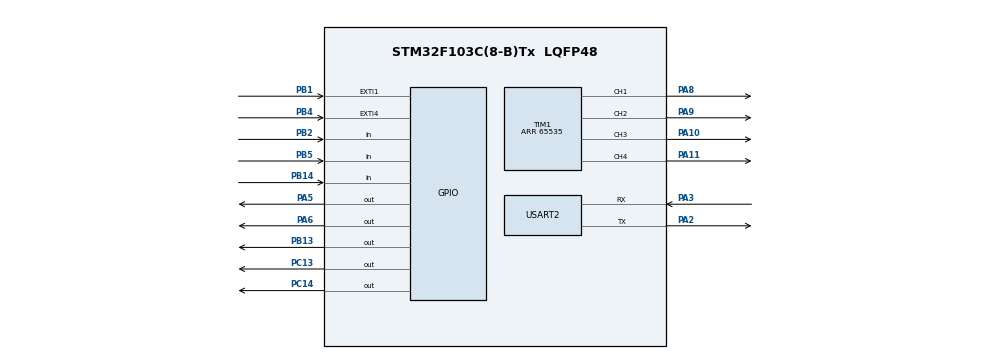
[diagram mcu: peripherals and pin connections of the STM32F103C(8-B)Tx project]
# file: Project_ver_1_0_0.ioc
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Mcu.Family=STM32F1
Mcu.Name=STM32F103C(8-B)Tx
Mcu.Package=LQFP48
NVIC.EXTI1_IRQn=true\:0\:0\:false\:false\:true\:true
NVIC.EXTI4_IRQn=true\:0\:0\:true\:false\:true\:true
NVIC.PriorityGroup=NVIC_PRIORITYGROUP_4
NVIC.USART2_IRQn=true\:0\:0\:false\:false\:true\:true
PA10.Signal=S_TIM1_CH3
PA11.Signal=S_TIM1_CH4
PA13.Mode=Serial_Wire
PA13.Signal=SYS_JTMS-SWDIO
PA14.Mode=Serial_Wire
PA14.Signal=SYS_JTCK-SWCLK
PA2.Mode=Asynchronous
PA2.Signal=USART2_TX
PA3.Mode=Asynchronous
PA3.Signal=USART2_RX
PA5.Signal=GPIO_Output
PA6.GPIO_PuPd=GPIO_PULLDOWN
PA6.Signal=GPIO_Output
PA8.Signal=S_TIM1_CH1
PA9.Signal=S_TIM1_CH2
PB1.GPIO_ModeDefaultEXTI=GPIO_MODE_IT_RISING
PB1.Signal=GPXTI1
PB13.Signal=GPIO_Output
PB14.Signal=GPIO_Input
PB2.Signal=GPIO_Input
PB4.GPIO_ModeDefaultEXTI=GPIO_MODE_IT_RISING
PB4.GPIO_PuPd=GPIO_NOPULL
PB4.Signal=GPXTI4
PB5.Signal=GPIO_Input
PC13-TAMPER-RTC.Signal=GPIO_Output
PC14-OSC32_IN.Signal=GPIO_Output
ProjectManager.HeapSize=0x200
ProjectManager.StackSize=0x400
ProjectManager.TargetToolchain=MDK-ARM V5
RCC.APB1Freq_Value=8000000
RCC.APB2Freq_Value=8000000
SH.S_TIM1_CH1.0=TIM1_CH1,PWM Generation1 CH1
SH.S_TIM1_CH2.0=TIM1_CH2,PWM Generation2 CH2
SH.S_TIM1_CH3.0=TIM1_CH3,PWM Generation3 CH3
SH.S_TIM1_CH4.0=TIM1_CH4,PWM Generation4 CH4
TIM1.Channel-PWM\ Generation1\ CH1=TIM_CHANNEL_1
TIM1.Channel-PWM\ Generation2\ CH2=TIM_CHANNEL_2
TIM1.Channel-PWM\ Generation3\ CH3=TIM_CHANNEL_3
TIM1.Channel-PWM\ Generation4\ CH4=TIM_CHANNEL_4
TIM1.OCMode_PWM-PWM\ Generation3\ CH3=TIM_OCMODE_PWM1
TIM1.OCPolarity_1=TIM_OCPOLARITY_LOW
TIM1.OCPolarity_2=TIM_OCPOLARITY_LOW
TIM1.OCPolarity_3=TIM_OCPOLARITY_LOW
TIM1.OCPolarity_4=TIM_OCPOLARITY_LOW
TIM1.Period=65535
TIM1.Pulse-PWM\ Generation1\ CH1=7999
TIM1.Pulse-PWM\ Generation2\ CH2=7999
TIM1.Pulse-PWM\ Generation3\ CH3=7999
TIM1.Pulse-PWM\ Generation4\ CH4=7999
USART2.VirtualMode=VM_ASYNC
VP_TIM1_VS_ClockSourceINT.Mode=Internal
board=custom

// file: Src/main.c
/* USER CODE BEGIN Header */
/**
  ******************************************************************************
  * @file           : main.c
  * @brief          : Main program body
  ******************************************************************************
  * This notice applies to any and all portions of this file
  * that are not between comment pairs USER CODE BEGIN and
  * USER CODE END. Other portions of this file, whether
  * inserted by the user or by software development tools
  * are owned by their respective copyright owners.
  *
  * Copyright (c) 2019 STMicroelectronics International N.V.
  * All rights reserved.
  *
  * Redistribution and use in source and binary forms, with or without
  * modification, are permitted, provided that the following conditions are met:
  *
  * 1. Redistribution of source code must retain the above copyright notice,
  *    this list of conditions and the following disclaimer.
  * 2. Redistributions in binary form must reproduce the above copyright notice,
  *    this list of conditions and the following disclaimer in the documentation
  *    and/or other materials provided with the distribution.
  * 3. Neither the name of STMicroelectronics nor the names of other
  *    contributors to this software may be used to endorse or promote products
  *    derived from this software without specific written permission.
  * 4. This software, including modifications and/or derivative works of this
  *    software, must execute solely and exclusively on microcontroller or
  *    microprocessor devices manufactured by or for STMicroelectronics.
  * 5. Redistribution and use of this software other than as permitted under
  *    this license is void and will automatically terminate your rights under
  *    this license.
  *
  * THIS SOFTWARE IS PROVIDED BY STMICROELECTRONICS AND CONTRIBUTORS "AS IS"
  * AND ANY EXPRESS, IMPLIED OR STATUTORY WARRANTIES, INCLUDING, BUT NOT
  * LIMITED TO, THE IMPLIED WARRANTIES OF MERCHANTABILITY, FITNESS FOR A
  * PARTICULAR PURPOSE AND NON-INFRINGEMENT OF THIRD PARTY INTELLECTUAL PROPERTY
  * RIGHTS ARE DISCLAIMED TO THE FULLEST EXTENT PERMITTED BY LAW. IN NO EVENT
  * SHALL STMICROELECTRONICS OR CONTRIBUTORS BE LIABLE FOR ANY DIRECT, INDIRECT,
  * INCIDENTAL, SPECIAL, EXEMPLARY, OR CONSEQUENTIAL DAMAGES (INCLUDING, BUT NOT
  * LIMITED TO, PROCUREMENT OF SUBSTITUTE GOODS OR SERVICES; LOSS OF USE, DATA,
  * OR PROFITS; OR BUSINESS INTERRUPTION) HOWEVER CAUSED AND ON ANY THEORY OF
  * LIABILITY, WHETHER IN CONTRACT, STRICT LIABILITY, OR TORT (INCLUDING
  * NEGLIGENCE OR OTHERWISE) ARISING IN ANY WAY OUT OF THE USE OF THIS SOFTWARE,
  * EVEN IF ADVISED OF THE POSSIBILITY OF SUCH DAMAGE.
  *
  ******************************************************************************
  */
/* USER CODE END Header */

#include "main.h"

/* USER CODE BEGIN Includes */
#include "string.h"
#include <math.h>
#include "stdio.h"
#include <stdlib.h>
//#include "ros.h"
/* USER CODE END Includes */

TIM_HandleTypeDef htim1;

UART_HandleTypeDef huart2;

void SystemClock_Config(void);
static void MX_GPIO_Init(void);
static void MX_TIM1_Init(void);
static void MX_USART2_UART_Init(void);

/* USER CODE BEGIN 0 */
//FIFO Buffer
#define ARRAY_SIZE 11
#define BUFFER_SIZE ARRAY_SIZE-1

float gBuffer[ARRAY_SIZE]; //Buffer has a size of 99
uint8_t pBufferWrite = 1;
uint8_t pBufferRead = 0;

void FIFOBufferWrite(float pDataIn)
{
    if(pBufferWrite == pBufferRead)
    {
        // Buffer is full, do nothing or return error message.
    }
    else
    {
        // Write and increase pBufferWrite
        gBuffer[pBufferWrite] = pDataIn;
        if (pBufferWrite < BUFFER_SIZE)
        {
            pBufferWrite++;
        }
        else
        {
            pBufferWrite = 0;
        }
    }
}

float FIFOBufferRead(void)
{
    float dataOut = 0x00;
    uint8_t tempBufferRead = pBufferRead + 1;
    if(tempBufferRead == pBufferWrite)
    {
        // Buffer is empty, do nothing or return error message.
			//dataOut = 100000;
    }
    else
    {
        // Increase pBufferRead and read data from buffer
        if (pBufferRead < BUFFER_SIZE)
        {
            pBufferRead++;
        }
        else
        {
            pBufferRead = 0;
        }
        dataOut = gBuffer[pBufferRead];
    }
    return dataOut;
}
/* Communication define*/
// Start of text bit: "("
unsigned char stx = 40;
unsigned char *add_stx = &stx;
// End of text bit: ")"
unsigned char etx = 41;
unsigned char *add_etx = &etx;
// Start of Header bit: "<"
unsigned char sth = 60;
unsigned char *add_sth = &sth;
// End of Transmission bit: ">"
unsigned char eot = 62;
unsigned char *add_eot = &eot;

/*Convert function*/
/* 2 digits after comma*/
// Another variable
float data;
char sign;
int lenostr;
// This function help to encode data to sent through uart
void SendData(float r_data)
{
	unsigned char str_float[7];
	if (r_data < 0) {sign = 1;}
	if (r_data >= 0) {sign = 0;}
	data = fabs(r_data);
	// Get the length of data
	if (data < 10)
	{
		lenostr = 5;
		if (sign == 1){str_float[0] = 45;} // - ascii code
		if (sign == 0){str_float[0] = 43;} // + ascii code
		str_float[1] = (int)data%10; // left comma digit
		str_float[2] = 46; // Comma ASCII code
		str_float[3] = ((data - str_float[1])*100)/10; // first digit after comma
		str_float[4] = (int)((data - str_float[1])*100)%10; // second digit after comma
		}
	if (data < 100 && data >=10)
	{
		lenostr = 6;
		if (sign == 1){str_float[0] = 45;} // - ascii code
		if (sign == 0){str_float[0] = 43;} // + ascii code
		str_float[1] = data/10; // second digit before comma
		str_float[2] = (int)(data)%10; // first digit before comma
		str_float[3] = 46; // Comma ASCII code
		str_float[4] = ((data - str_float[1]*10 - str_float[2])*100)/10; // first digit after comma
		str_float[5] = (int)((data - str_float[1]*10 - str_float[2])*100)%10; // second digit after comma
	}
	if (data < 1000 && data >= 100)
	{
		lenostr = 7;
		if (sign == 1){str_float[0] = 45;} // - ascii code
		if (sign == 0){str_float[0] = 43;} // + ascii code
		str_float[1] = data/100; // third digit before comma
		str_float[2] = ((data-str_float[1])/100)/10; // second digit before comma
		str_float[3] = ((int)(data-str_float[1])/100)%10; // first digit before comma
		str_float[4] = 46; // Comma ASCII code
		str_float[5] = ((data - str_float[1]*100 - str_float[2]*10 - str_float[3])*100)/10; // first digit after comma
		str_float[6] = (int)((data - str_float[1]*100 - str_float[2]*10 - str_float[3])*100)%10; // second digit after comma
	}

	// Start Communication
	// Send Start of text code
	//HAL_UART_Transmit(&huart2,add_sth,1,1000);
	HAL_UART_Transmit(&huart2,add_stx,1,1000);
	// Send data
	for (int i = 0; i<lenostr;i++)
	{
		if (str_float[i]!=43 && str_float[i]!=45 && str_float[i]!=46)
		{
			unsigned char temppp;
			temppp = str_float[i] + 48;
			unsigned char *add = &temppp;
			HAL_UART_Transmit(&huart2,add,1,1000);
			HAL_Delay(1);
		}
		else
		{
			unsigned char *add = &str_float[i];
			HAL_UART_Transmit(&huart2,add,1,1000);
			HAL_Delay(1);
		}
	}
	// Send End of text code
	HAL_UART_Transmit(&huart2,add_etx,1,1000);
	//HAL_UART_Transmit(&huart2,add_eot,1,1000);
}
#define NUM_DIGITS_AFTER_COMMA 2
// This function will return number of digits (include comma and sign)
void SendAGift(float data)
{
	unsigned char str_float[10];
	// Get sign of data
	if (data < 0) {str_float[0] = 45;}
	if (data >= 0) {str_float[0] = 43;}
	data = fabs(data);
	// Get number of digits in data
	int left_comma_digits,num_of_digits;
	float tmp_dt;
	int count=1,n;
	tmp_dt = data;
	while(tmp_dt >=1)
	{
		tmp_dt = tmp_dt/10;
		left_comma_digits++;
	}
	num_of_digits = left_comma_digits + 2 + NUM_DIGITS_AFTER_COMMA; // 2 include sign and comma
	n = left_comma_digits;
	while(n > 0)
	{
		str_float[count] = data/(10^(n-1));
		data = data - ((int)(data/(10^(n-1))))*(10^(n-1));
		count++;
		n = n - 1;
	}
	str_float[left_comma_digits+1] = 46; // Comma ASCII code
	str_float[left_comma_digits+2] = (data*100)/10; // first digit after comma
	str_float[left_comma_digits+3] = (int)(data*100)%10; // second digit after comma

	HAL_UART_Transmit(&huart2,add_stx,1,1000);
	// Send data
	for (int i = 0; i<num_of_digits;i++)
	{
		if (str_float[i]!=43 && str_float[i]!=45 && str_float[i]!=46)
		{
			unsigned char temppp;
			temppp = str_float[i] + 48;
			unsigned char *add = &temppp;
			HAL_UART_Transmit(&huart2,add,1,1000);
			HAL_Delay(1);
		}
		else
		{
			unsigned char *add = &str_float[i];
			HAL_UART_Transmit(&huart2,add,1,1000);
			HAL_Delay(1);
		}
	}
	// Send End of text code
	HAL_UART_Transmit(&huart2,add_etx,1,1000);
}
// End of sent function
// Receive function
#define NUMBER_OF_DIGITS_RECEIVE 8 //2 digits after comma
float rec_num;
uint8_t WAIT_TIME = 10;
uint8_t ready_flag = 72;
uint8_t *add_ready = &ready_flag;
uint8_t done_flag = 80;
uint8_t *add_done = &done_flag;
uint8_t confirm_flag = 86;
uint8_t *add_confirm = &confirm_flag;
uint8_t end_transmission_flag = 83;
HAL_StatusTypeDef DoneStatus;
void ReceiveAGift()
{
	rec_num = 0;
	// Feedback to Jetson: Ready to receive the next
	HAL_UART_Transmit(&huart2,add_ready,1,100);
	HAL_Delay(10);
	uint8_t tmp_float[NUMBER_OF_DIGITS_RECEIVE];
	for (int k = -1; k<NUMBER_OF_DIGITS_RECEIVE;k++)
	{
		uint8_t tmp_num[1];
		HAL_UART_Receive(&huart2,tmp_num,1,100);
		if(k>=0)
		{
		tmp_float[k] = tmp_num[0];
		}
		//DoneStatus = HAL_UART_Transmit(&huart2,add_done,1,100);
		HAL_UART_Transmit(&huart2,add_done,1,100);

	}
	for (int i = 1; i < (NUMBER_OF_DIGITS_RECEIVE-2);i++)
	{
		rec_num += (tmp_float[i]-48)*pow(10,(5-i));
	}
	rec_num = rec_num + (tmp_float[NUMBER_OF_DIGITS_RECEIVE-2]-48)*0.1 + (tmp_float[NUMBER_OF_DIGITS_RECEIVE-1]-48)*0.01;
	if (tmp_float[0] == 45)
	{rec_num = -rec_num;}
	else
	{rec_num = rec_num;}
	//if(fabs(rec_num) < 1000)
	//{
	HAL_UART_RxCpltCallback(&huart2);
	FIFOBufferWrite(rec_num);
	//}
}
// End of receive function
int loop_times = 0;
uint32_t check;
uint8_t flaggg;
void Communication()
{
	//while(etf[0] != end_transmission_flag)
	for (int kj = 0;kj < WAIT_TIME;kj++)
	{
		ReceiveAGift();
		//HAL_UART_Receive(&huart2,etf,1,100);
		//HAL_Delay(100);
	}
	HAL_Delay(100);
	uint8_t eot[1];
	HAL_UART_Receive(&huart2,eot,1,100);

	check = (huart2.Instance->DR);
	//loop_times = (int)sizeof(gBuffer)/sizeof(gBuffer[0])/2;
	loop_times = 5;
	if (check == 48)
	{
		flaggg = 1;
	}
	else
	{
		flaggg = 0;
	}
	HAL_Delay(100);
}
// Start mortor control function
#define CW 0	// Back
#define CCW 1 // Go ahead
int pwm_0,pwm_1;
void DodoGo(uint8_t direct,int pwm_0,int pwm_1)
{
		if (direct == 0)
		{
			TIM1->CCR2 = pwm_0;
			TIM1->CCR1 = 0;
			TIM1->CCR3 = 0;
			TIM1->CCR4 = pwm_1;
		}
		if (direct == 1)
		{
			TIM1->CCR1 = pwm_0;
			TIM1->CCR2 = 0;
			TIM1->CCR4 = 0;
			TIM1->CCR3 = pwm_1;
		}
		if (direct == 2)
		{
			TIM1->CCR2 = 0;
			TIM1->CCR1 = 0;
			TIM1->CCR3 = 0;
			TIM1->CCR4 = 0;
		}

}
int sign_0,sign_1;
void MotorGo(int pwm_0, int pwm_1)
{
	if (pwm_0>0)
	{
		TIM1->CCR1 = pwm_0;
		TIM1->CCR2 = 0;
	}
	if (pwm_1>0)
	{
		TIM1->CCR4 = 0;
		TIM1->CCR3 = pwm_1;
	}
	if (pwm_0<0)
	{
		TIM1->CCR2 = -pwm_0;
		TIM1->CCR1 = 0;
	}
	if (pwm_1<0)
	{
		TIM1->CCR3 = 0;
		TIM1->CCR4 = -pwm_1;
	}
	if (pwm_0==0)
	{
		TIM1->CCR1 = 0;
		TIM1->CCR2 = 0;
	}
	if (pwm_1==0)
	{
		TIM1->CCR4 = 0;
		TIM1->CCR3 = 0;
	}

}
/*End of motor control functions
-
-
*/

/* Get data from MPU6050, filter with kalman and send them to Pi*/
/*
Angular Velocity Limit  |   Sensitivity
----------------------------------------
250�/s                  |    131
500�/s                  |    65.5
1000�/s                 |    32.8
2000�/s                 |    16.4

Acceleration Limit  |   Sensitivity
----------------------------------------
2g                  |    16,384
4g                  |    8,192
8g                  |    4,096
16g                 |    2,048

	*/
float vel_x, vel_y, pos_x = 0, pos_y = 0, vel_z, pos_z, omega_z,ang_z;
/* Get position from encoder data*/
#define REDUCTION_RATIO 78
#define AUTO_RELOAD_COUNTER 65535
#define UNIT_OF_MEA 1 // Default is meter, new unit is m*UNIT_OF_MEA
int pre_count_0 = 0, pre_count_1 = 0;
float delta_count_0, delta_count_1;
float D_0,D_1,D_c,delta_phi;
float en_pos_x, en_pos_y,phi=0, pre_en_pos_x, pre_en_pos_y;
volatile int count_0,count_1;
//float test;
void Encoder_data_processing()
{
	const int N = 26; // Encoder resolution
	const float pi = 3.14159;
	const float R = 0.025*UNIT_OF_MEA;
	//const float L = 0.15;
	// Read both encoder data
	//count_0 = __HAL_TIM_GET_COUNTER(&htim4);
	//count_1 = __HAL_TIM_GET_COUNTER(&htim3);
	//count_1 = getEncoder_1();
	//count_0 = getEncoder_0();
	// This Variable below was invert due to the config is CCW - Go ahead, CW - Go back
	delta_count_0 = (count_0 - pre_count_0);
	delta_count_1 = (count_1 - pre_count_1);
	if (pre_count_0 > 10*count_0 && count_0 != 0)
	{
		delta_count_0 = (count_0 - pre_count_0 + AUTO_RELOAD_COUNTER);
	}
	if (pre_count_1 > 10*count_1 && count_1 != 0)
	{
		delta_count_1 = (count_1 - pre_count_1 + AUTO_RELOAD_COUNTER);
	}
	if (pre_count_0*10 < count_0 && pre_count_0 != 0)
	{
		delta_count_0 = (-(count_0 - pre_count_0 + AUTO_RELOAD_COUNTER));
	}
	if (pre_count_1*10 < count_1 && pre_count_1 != 0)
	{
		delta_count_1 = (-(count_1 - pre_count_1 + AUTO_RELOAD_COUNTER));
	}
	if (pre_count_1 == 0 && count_1 > 40000)
	{
		delta_count_1 = (count_1 - AUTO_RELOAD_COUNTER);
	}
	if (pre_count_0 == 0 && count_0 > 40000)
	{
		delta_count_0 = (count_0 - AUTO_RELOAD_COUNTER);
	}
	if (pre_count_0 > 40000 && count_0 == 0)
	{
		delta_count_0 = (- pre_count_0 + AUTO_RELOAD_COUNTER);
	}
	if (pre_count_1 > 40000 && count_1 == 0)
	{
		delta_count_1 = (- pre_count_1 + AUTO_RELOAD_COUNTER);
	}
	if (fabs(delta_count_0)>10000)
	{
		delta_count_0 = 2*(delta_count_0/fabs(delta_count_0));
	}
	if (fabs(delta_count_1)>10000)
	{
		delta_count_1 = 2*(delta_count_1/fabs(delta_count_1));
	}
	//phi += atan2((en_pos_y-pre_en_pos_y),(en_pos_x-pre_en_pos_x));
	D_0 = (2*pi*delta_count_0*R)/(N*REDUCTION_RATIO);
	D_1 = (2*pi*delta_count_1*R)/(N*REDUCTION_RATIO);
	D_c = (D_0+D_1)/2;
	phi+= (D_1-D_0)/2;
	//delta_phi = (D_1-D_0)/2;
	// Update postion
	pre_count_0 = count_0;
	pre_count_1 = count_1;
	//pre_en_pos_x = en_pos_x;
	//pre_en_pos_y = en_pos_y;
	//if (fabs(D_c*cos(phi)) > 0.002)
	en_pos_x = en_pos_x + D_c*cos(phi);
	//if (fabs(D_c*sin(phi)) > 0.002)
	en_pos_y = en_pos_y + D_c*sin(phi);
	//if (D_c*cos(phi) > 0.002) en_pos_x = en_pos_x + D_c*cos(phi);
	//if (D_c*sin(phi) > 0.002) en_pos_y = en_pos_y + D_c*sin(phi);
	//test = D_c*cos(phi);
	//HAL_Delay(100);
}
/*Check goal function:
	This function is used to check the robot position which
	will be compared with goal point.
	If that is a acceptable position, this function will return GOAL_STATUS
	0: OK
	1: Not OK*/
uint8_t GOAL_STATUS = 1;
float tmp_xgoal;
void CheckGoal(float pos_x, float pos_y, float x_goal, float y_goal)
{
	//tmp_xgoal = x_goal;
	//if((fabs(roundf(-pos_x*10)/10) != fabs(x_goal)) || (fabs(roundf(-pos_y*10)/10) != fabs(y_goal)))
	//if(((fabs(roundf(-pos_x*100)/100) != x_goal)) || ((fabs(roundf(-pos_y*100)/100)) != y_goal))
	if((fabs(roundf(-pos_x*100)/100) < fabs(x_goal)))
	{
		GOAL_STATUS = 0;
	}
	else
	{
		GOAL_STATUS = 1;
	}
	if(((fabs(roundf(x_goal*100)/100) == 0)) && ((fabs(roundf(y_goal*100)/100)) == 0)) GOAL_STATUS = 1;
}
/* PID Algorithm */
//float Kp=259169.1404, Ki=2805927.6279 , Kd=549.8702;
//float Kp=3.255, Ki=9.665 , Kd=0.216;
#define LEFT_WHEEL 0
#define RIGHT_WHEEL 1
float Kp, Ki, Kd;
float Kpl = 195.5258, Kil = 393.2754, Kdl = 21.87;
float Kpr = 234.1664, Kir = 475.3947, Kdr = 25.7305;
float P,I,D;
float output;
float pre_error;
float PID_Cal(float error, int whell)
{
	if (whell == 0)
	{
	Kp = Kpl; Ki = Kil; Kd = Kdl;
	}
	else
	{
	Kp = Kpr; Ki = Kir; Kd = Kdr;
	}
	P = Kp * error;
	I += Ki * error;
	D = Kd * (error - pre_error);
	output = P + I + D;
	pre_error = error;
	return output;
}
// Rotate function, + : turn left, -: turn right
#define ROT_SPEED 40000
int ROT_DONE;
int rot_direction;
float pr_gphi,pr_phi;
void rotate(float g_phi)
{
	//float tmp = fabs(phi);
	//const int N = 26; // Encoder resolution
	const float pi = 3.14159;
	//const float R = 0.025;
	//const float L = 0.175;
	//if (g_phi <0) g_phi = fabs(g_phi) + pi;
	if(g_phi < 0)
	{
		rot_direction = -1;
		//rot_direction = 1;
	}
	else
	{
		rot_direction = 1;
	}
	if(g_phi == 0)
	{
		ROT_DONE = 1;
	}
	else
	{
		ROT_DONE = 0;
	}
	//pr_phi = phi;
	//phi = phi - pr_gphi;
	//phi = 0;
	delta_phi = 0;
	D_1 = 0;
	D_0 = 0;
	while(ROT_DONE != 1)
	{
		if (fabs(delta_phi) < fabs(g_phi))
			{
				MotorGo(rot_direction*ROT_SPEED,-rot_direction*ROT_SPEED*1.174964);
				Encoder_data_processing();
				delta_phi += (D_1-D_0)/2;
				//HAL_Delay(100);
		}
		else
		{
			MotorGo(0,0);
			ROT_DONE = 1;
			phi = g_phi;
			//pr_gphi = g_phi;
			if(phi >= pi)
			{
				phi = phi - 2*pi;
			}
			if(phi<-pi)
			{
				phi = phi + 2*pi;
			}
		}
	}
}
#define SCALE_RATIO 0.1
#define TRANS_RATIO_R 1
#define TRANS_RATIO_L 1.01
// Config parameters for go_to_goal() function
float x=0, y=0;
float pre_phi = 0,phi_d;
float vel_left, vel_right; // Velocity of left and right wheels
float omega_l,omega_r;
int vel = 10000; // the velocity be set, mm/s
float error;
uint8_t goal_flag = 0;
float pr_xg=0,pr_yg=0;
void go_to_goal(float x_goal, float y_goal)
{
	//const int N = 26; // Encoder resolution
	//const float pi = 3.14159;
	const float R = 0.025*UNIT_OF_MEA;
	const float L = 0.175*UNIT_OF_MEA;
	//-----------------------------
	//rotate(1.57);
	//-----------------------------
	en_pos_x = 0;
	en_pos_y = 0;
	pos_x = 0;
	pos_y = 0;
	while (GOAL_STATUS == 0)
	{
	x = pos_x;
	y = pos_y;
	//phi = atan2((x_goal-x),(y_goal-y));
	//error = phi - pre_phi;
	phi_d = atan2((y_goal-y),(x_goal-x));
	error = phi_d-phi;
	CheckGoal(pos_x = pos_x,pos_y = pos_y,x_goal,y_goal);
	if (GOAL_STATUS == 0)
	{
		// Get vel_left
		omega_l = PID_Cal(error,LEFT_WHEEL);
		vel_left = SCALE_RATIO*TRANS_RATIO_L*(2 * vel - omega_l * L) / (2 * R);
		if (fabs(vel_left) > 65000) vel_left = 40000*TRANS_RATIO_L*(vel_left/(fabs(vel_left)));
		// Get vel_right 1.174964057476054
		omega_r = PID_Cal(error,RIGHT_WHEEL);
		vel_right = SCALE_RATIO*TRANS_RATIO_R*(2 * vel + omega_r * L) / (2 * R);
		if (fabs(vel_right) > 65000) vel_right = 40000*TRANS_RATIO_R*(vel_right/(fabs(vel_right)));
		MotorGo(fabs(vel_left),fabs(vel_right));
		}
	else
	{
		MotorGo(0,0);
	}
	Encoder_data_processing();
		//pos_x = IMU_x;
		//pos_y = IMU_y;
	pos_x = en_pos_x;
	pos_y = en_pos_y;
		// Feedback position to Jetson Nano
		// Start transmission
	HAL_UART_Transmit(&huart2,add_sth,1,1000);
	SendData(pos_x);
	SendData(pos_y);
	HAL_UART_Transmit(&huart2,add_eot,1,1000);
		// End transmission
		//PosCompare(phi);
		//pre_phi = phi;
}
}
/*END OF go_to_goal*/
// Orbit following function
uint8_t STEP_DONE = 0;
//float points_x[5] = {0,0.5,0.5,0,0};
//float points_y[5] = {0,0,0.5,0.5,0};
int count__;
void OrbitFollow()
{
	float x_goal;
	float y_goal;
	//float pre_gphi = 0;
	//float x_goal = 0.5;
	//float y_goal = 0.5;
	//float g_phi;
	//float way = roundf(sqrt(powf(x_goal,2)+powf(y_goal,2))*10)/10;
	//ROT_DONE = 0;
	//GOAL_STATUS = 0;
	if (count__ > loop_times)
	{
		MotorGo(0,0);
		//count__ = 0;
	}
	else
	{
		for(count__ = 0;count__ <= loop_times;count__++)
		{
			/*pos_x = 0;
			pos_y = 0;
			x=0;
			y=0;*/
			x_goal = FIFOBufferRead();
			y_goal = FIFOBufferRead();
			//x_goal = 0.5;
			//y_goal = 0.5;
			if (x_goal <= 1000)
			{
				//g_phi = atan2((y_goal-y),(x_goal-x));
				//g_phi = atan2(y_goal,x_goal);
				//pre_gphi = g_phi;
				if (GOAL_STATUS == 1) ROT_DONE = 0;
				while(ROT_DONE == 0)
				{
					rotate(y_goal);
				}
				if (ROT_DONE == 1) GOAL_STATUS = 0;
				x = 0;
				y = 0;
				phi = 0;
				while(GOAL_STATUS == 0)
				{
					go_to_goal(1*x_goal,0);
				}
			}
			else
			{
				MotorGo(0,0);
			}
			}
		}
	}

// End of Orbit following function
int ttt;
/* This function below is used for collect data to calculate transfer function
* Usage: motor: 0 or 1, choose the motor
* With motor = 0, encoder pin match with TIM2_CH1 (PA0)
* With motor = 1, encoder pin match with TIM4_CH1 (PB6)*/
/*
#define PWM_STEP 5000
int test_pwm = 20000;
void MeasureData()
{
	HAL_TIM_Encoder_Start_IT(&htim3,TIM_CHANNEL_1);
	HAL_TIM_Encoder_Start_IT(&htim4,TIM_CHANNEL_1);
	HAL_TIM_Encoder_Start_IT(&htim3,TIM_CHANNEL_2);
	HAL_TIM_Encoder_Start_IT(&htim4,TIM_CHANNEL_2);
	int i;
	while(test_pwm < 65500)
	{
		//__HAL_TIM_SET_COUNTER(&htim4,0);
		//__HAL_TIM_SET_COUNTER(&htim3,0);
		htim3.Instance->CNT = 0;
		htim4.Instance->CNT = 0;
		for(i = 0; i < 50000; i++)
		{
			MotorGo(test_pwm,test_pwm);
		}
		HAL_Delay(956);
		MotorGo(0,0);
		//count_1 = __HAL_TIM_GET_COUNTER(&htim3);
		//count_0 = __HAL_TIM_GET_COUNTER(&htim4);
		count_1 = htim3.Instance->CNT;
		count_0 = htim4.Instance->CNT;
		delta_count_0 = (count_0 - pre_count_0);
		delta_count_1 = (count_1 - pre_count_1);
		// Update postion
		pre_count_0 = count_0;
		pre_count_1 = count_1;
		//SendingData to nano
		//HAL_UART_Transmit(&huart2,add_sth,1,1000);
		//SendData(tmp_count);
		//SendData(tmp_pwm);
		//HAL_UART_Transmit(&huart2,add_eot,1,1000);
		//End of transmission
		test_pwm = test_pwm + PWM_STEP;
		HAL_Delay(3000);
		}
}
*/
// Test orbits
void heart_orbit()
{
	float points_x[13] = {0,0.1,0.1,0.1,0.1,0.1,0.1,0.1,0.1,0.1,0.1,0.1,0.1};
	float points_y[13] = {0,-0.785,0,0.262,0.523,1.047,1.047,-1.57,0.785,1.047,0.262,0.523,0};
	int i_;
	for(i_ = 0; i_< 13;i_++)
	{
		FIFOBufferWrite(points_x[i_]);
		FIFOBufferWrite(points_y[i_]);
	}
	size_t l = sizeof(points_x)/sizeof(points_x[0]);
	loop_times = (int)l;
}
void square_orbit()
{
	float points_x[5] = {0,0.3,0.3,0.3,0.3};
	float points_y[5] = {0,0,1.57,1.57,1.57};
	int i_;
	for(i_ = 0; i_< 5;i_++)
	{
		FIFOBufferWrite(points_x[i_]);
		FIFOBufferWrite(points_y[i_]);
	}
	size_t l = sizeof(points_x)/sizeof(points_x[0]);
	loop_times = (int)l;
}
void go_to_points()
{
	float points_x[3] = {0.3,0.3,0.3};
	float points_y[3] = {0.8,-0.8,0};
	int i_;
	for(i_ = 0; i_< 3;i_++)
	{
		FIFOBufferWrite(points_x[i_]);
		FIFOBufferWrite(points_y[i_]);
	}
	size_t l = sizeof(points_x)/sizeof(points_x[0]);
	loop_times = (int)l;
}
void reset_buffer()
{
	pBufferWrite = 1;
	pBufferRead = 0;
	for (int i = 0;i<=10;i++)
	{
		FIFOBufferWrite(0);
		}
	pBufferWrite = 1;
	pBufferRead = 0;
	}
void getMap()
{
	GOAL_STATUS = 0;
	HAL_Delay(30000);
	rotate(3.1);
	HAL_Delay(2000);
	go_to_goal(3,0);
	ROT_DONE = 0;
	HAL_Delay(2000);
	rotate(3.1);
	MotorGo(0,0);
}
void gotochargestation()
{
	HAL_Delay(15000);
	// Go back, get out the station
	MotorGo(-44000,-40000);
	HAL_Delay(3000);
	MotorGo(0,0);
	HAL_Delay(1000);
	// Rotate
	rotate(3.14);
	HAL_Delay(1000);
	square_orbit();
	OrbitFollow();
	HAL_Delay(1000);
	rotate(-1.57);
	HAL_Delay(500);
	MotorGo(44000,40000);
	HAL_Delay(3000);
	MotorGo(0,0);
}
void getoutchargestation()
{
	HAL_Delay(45000);
	// Getback
	MotorGo(-44000,-40000);
	HAL_Delay(4000);
	MotorGo(0,0);
	rotate(1.6);
	if (ROT_DONE == 1)
	{
		GOAL_STATUS = 0;
		go_to_goal(2,0);
	}
	ROT_DONE = 0;
	rotate(3.1);
	if (ROT_DONE == 1)
		{
			GOAL_STATUS = 0;
			go_to_goal(2,0);
		}
	rotate(1.6);
}
/*
float delta_v_0,delta_v_1;
float v_0,v_1;
int __count;
//const float set_v = {50,90,130,110,70};
float set_v;
void vel_test()
{
	HAL_Delay(5000);
	HAL_TIM_Encoder_Start_IT(&htim3,TIM_CHANNEL_1);
	HAL_TIM_Encoder_Start_IT(&htim4,TIM_CHANNEL_1);
	HAL_TIM_Encoder_Start_IT(&htim3,TIM_CHANNEL_2);
	HAL_TIM_Encoder_Start_IT(&htim4,TIM_CHANNEL_2);
	for(__count = 0; __count <= 50; __count++)
	{
		if (__count <10) set_v = 50;
		if (__count >=10 && __count < 20) set_v = 90;
		if (__count >=20 && __count < 30) set_v = 130;
		if (__count >=30 && __count < 40) set_v = 110;
		if (__count >=40) set_v = 70;
		__HAL_TIM_SET_COUNTER(&htim4,0);
		__HAL_TIM_SET_COUNTER(&htim3,0);
		delta_v_0 = set_v - count_0;
		delta_v_1 = set_v - count_1;
		v_0 = PID_Cal(delta_v_0, LEFT_WHEEL)/100;
		v_1 = PID_Cal(delta_v_1, RIGHT_WHEEL)/100;
		MotorGo(v_0,v_1);
		HAL_Delay(95);
		//MotorGo(0,0);
		count_1 = __HAL_TIM_GET_COUNTER(&htim3);
		count_0 = __HAL_TIM_GET_COUNTER(&htim4);
	}
}
*/
/* USER CODE END 0 */

int main(void)
{

  /* MCU Configuration--------------------------------------------------------*/

  /* Reset of all peripherals, Initializes the Flash interface and the Systick. */
  HAL_Init();

  /* Configure the system clock */
  SystemClock_Config();

  /* Initialize all configured peripherals */
  MX_GPIO_Init();
  MX_TIM1_Init();
  MX_USART2_UART_Init();
  /* USER CODE BEGIN 2 */
  HAL_TIM_Base_Start(&htim1);
	/*
  HAL_TIM_Base_Start(&htim2);
  HAL_TIM_Base_Start(&htim4);
  HAL_TIM_Base_Start(&htim3);
	*/
  HAL_TIM_PWM_Start(&htim1,TIM_CHANNEL_1);
  HAL_TIM_PWM_Start(&htim1,TIM_CHANNEL_2);
  HAL_TIM_PWM_Start(&htim1,TIM_CHANNEL_3);
  HAL_TIM_PWM_Start(&htim1,TIM_CHANNEL_4);
  /*HAL_TIM_IC_Start_IT(&htim2,TIM_CHANNEL_1);
  HAL_TIM_IC_Start_IT(&htim3,TIM_CHANNEL_1);
  HAL_TIM_IC_Start_IT(&htim4,TIM_CHANNEL_1);
  HAL_TIM_Encoder_Start_IT(&htim2,TIM_CHANNEL_1);
  HAL_TIM_Encoder_Start_IT(&htim3,TIM_CHANNEL_1);
  HAL_TIM_Encoder_Start_IT(&htim4,TIM_CHANNEL_1);
  HAL_TIM_IC_Start_IT(&htim2,TIM_CHANNEL_2);
  HAL_TIM_IC_Start_IT(&htim3,TIM_CHANNEL_2);
  HAL_TIM_IC_Start_IT(&htim4,TIM_CHANNEL_2);
  HAL_TIM_Encoder_Start_IT(&htim2,TIM_CHANNEL_2);
  HAL_TIM_Encoder_Start_IT(&htim3,TIM_CHANNEL_2);
  HAL_TIM_Encoder_Start_IT(&htim4,TIM_CHANNEL_2);
  htim3.Instance->CNT = 0;
  htim4.Instance->CNT = 0;
	*/
  /* USER CODE END 2 */

  /* Infinite loop */
  /* USER CODE BEGIN WHILE */
	//HAL_Delay(15000);
	//go_to_points();
	//GOAL_STATUS = 0;
	//gotochargestation();
	//int hg;
	//reset_buffer();
  while (1)
  {
	  //HAL_Delay(10000);
	  //getoutchargestation();
	  //Communication();
	  //OrbitFollow();
	  //if(pBufferWrite == pBufferRead)
	  //{
		//  reset_buffer();
	  	//  }
	  //vel_test();
	  //MotorGo(15000,14000);
	  //count__ = 0;
	  //reset_buffer();
	  //HAL_Delay(15000);
	  //(0.5,0);
	  //rotate(1.57);
		MotorGo(45000,45000);
		//go_to_goal(1.5,1);
	  //MeasureData();
	  Encoder_data_processing();
    /* USER CODE END WHILE */

  }
}

void SystemClock_Config(void)
{
  RCC_OscInitTypeDef RCC_OscInitStruct = {0};
  RCC_ClkInitTypeDef RCC_ClkInitStruct = {0};

  /**Initializes the CPU, AHB and APB busses clocks
  */
  RCC_OscInitStruct.OscillatorType = RCC_OSCILLATORTYPE_HSI;
  RCC_OscInitStruct.HSIState = RCC_HSI_ON;
  RCC_OscInitStruct.HSICalibrationValue = RCC_HSICALIBRATION_DEFAULT;
  RCC_OscInitStruct.PLL.PLLState = RCC_PLL_NONE;
  if (HAL_RCC_OscConfig(&RCC_OscInitStruct) != HAL_OK)
  {
    Error_Handler();
  }
  /**Initializes the CPU, AHB and APB busses clocks
  */
  RCC_ClkInitStruct.ClockType = RCC_CLOCKTYPE_HCLK|RCC_CLOCKTYPE_SYSCLK
                              |RCC_CLOCKTYPE_PCLK1|RCC_CLOCKTYPE_PCLK2;
  RCC_ClkInitStruct.SYSCLKSource = RCC_SYSCLKSOURCE_HSI;
  RCC_ClkInitStruct.AHBCLKDivider = RCC_SYSCLK_DIV1;
  RCC_ClkInitStruct.APB1CLKDivider = RCC_HCLK_DIV1;
  RCC_ClkInitStruct.APB2CLKDivider = RCC_HCLK_DIV1;

  if (HAL_RCC_ClockConfig(&RCC_ClkInitStruct, FLASH_LATENCY_0) != HAL_OK)
  {
    Error_Handler();
  }
}

static void MX_TIM1_Init(void)
{

  TIM_ClockConfigTypeDef sClockSourceConfig = {0};
  TIM_MasterConfigTypeDef sMasterConfig = {0};
  TIM_OC_InitTypeDef sConfigOC = {0};
  TIM_BreakDeadTimeConfigTypeDef sBreakDeadTimeConfig = {0};

  htim1.Instance = TIM1;
  htim1.Init.Prescaler = 0;
  htim1.Init.CounterMode = TIM_COUNTERMODE_UP;
  htim1.Init.Period = 65535;
  htim1.Init.ClockDivision = TIM_CLOCKDIVISION_DIV1;
  htim1.Init.RepetitionCounter = 0;
  htim1.Init.AutoReloadPreload = TIM_AUTORELOAD_PRELOAD_DISABLE;
  if (HAL_TIM_Base_Init(&htim1) != HAL_OK)
  {
    Error_Handler();
  }
  sClockSourceConfig.ClockSource = TIM_CLOCKSOURCE_INTERNAL;
  if (HAL_TIM_ConfigClockSource(&htim1, &sClockSourceConfig) != HAL_OK)
  {
    Error_Handler();
  }
  if (HAL_TIM_PWM_Init(&htim1) != HAL_OK)
  {
    Error_Handler();
  }
  sMasterConfig.MasterOutputTrigger = TIM_TRGO_RESET;
  sMasterConfig.MasterSlaveMode = TIM_MASTERSLAVEMODE_DISABLE;
  if (HAL_TIMEx_MasterConfigSynchronization(&htim1, &sMasterConfig) != HAL_OK)
  {
    Error_Handler();
  }
  sConfigOC.OCMode = TIM_OCMODE_PWM1;
  sConfigOC.Pulse = 7999;
  sConfigOC.OCPolarity = TIM_OCPOLARITY_LOW;
  sConfigOC.OCNPolarity = TIM_OCNPOLARITY_HIGH;
  sConfigOC.OCFastMode = TIM_OCFAST_DISABLE;
  sConfigOC.OCIdleState = TIM_OCIDLESTATE_RESET;
  sConfigOC.OCNIdleState = TIM_OCNIDLESTATE_RESET;
  if (HAL_TIM_PWM_ConfigChannel(&htim1, &sConfigOC, TIM_CHANNEL_1) != HAL_OK)
  {
    Error_Handler();
  }
  if (HAL_TIM_PWM_ConfigChannel(&htim1, &sConfigOC, TIM_CHANNEL_2) != HAL_OK)
  {
    Error_Handler();
  }
  if (HAL_TIM_PWM_ConfigChannel(&htim1, &sConfigOC, TIM_CHANNEL_3) != HAL_OK)
  {
    Error_Handler();
  }
  if (HAL_TIM_PWM_ConfigChannel(&htim1, &sConfigOC, TIM_CHANNEL_4) != HAL_OK)
  {
    Error_Handler();
  }
  sBreakDeadTimeConfig.OffStateRunMode = TIM_OSSR_DISABLE;
  sBreakDeadTimeConfig.OffStateIDLEMode = TIM_OSSI_DISABLE;
  sBreakDeadTimeConfig.LockLevel = TIM_LOCKLEVEL_OFF;
  sBreakDeadTimeConfig.DeadTime = 0;
  sBreakDeadTimeConfig.BreakState = TIM_BREAK_DISABLE;
  sBreakDeadTimeConfig.BreakPolarity = TIM_BREAKPOLARITY_HIGH;
  sBreakDeadTimeConfig.AutomaticOutput = TIM_AUTOMATICOUTPUT_DISABLE;
  if (HAL_TIMEx_ConfigBreakDeadTime(&htim1, &sBreakDeadTimeConfig) != HAL_OK)
  {
    Error_Handler();
  }
  HAL_TIM_MspPostInit(&htim1);

}

static void MX_USART2_UART_Init(void)
{

  huart2.Instance = USART2;
  huart2.Init.BaudRate = 115200;
  huart2.Init.WordLength = UART_WORDLENGTH_8B;
  huart2.Init.StopBits = UART_STOPBITS_1;
  huart2.Init.Parity = UART_PARITY_NONE;
  huart2.Init.Mode = UART_MODE_TX_RX;
  huart2.Init.HwFlowCtl = UART_HWCONTROL_NONE;
  huart2.Init.OverSampling = UART_OVERSAMPLING_16;
  if (HAL_UART_Init(&huart2) != HAL_OK)
  {
    Error_Handler();
  }

}

static void MX_GPIO_Init(void)
{
  GPIO_InitTypeDef GPIO_InitStruct = {0};

  /* GPIO Ports Clock Enable */
  __HAL_RCC_GPIOC_CLK_ENABLE();
  __HAL_RCC_GPIOA_CLK_ENABLE();
  __HAL_RCC_GPIOB_CLK_ENABLE();

  /*Configure GPIO pin Output Level */
  HAL_GPIO_WritePin(GPIOC, GPIO_PIN_13|GPIO_PIN_14, GPIO_PIN_RESET);

  /*Configure GPIO pin Output Level */
  HAL_GPIO_WritePin(GPIOA, GPIO_PIN_5|GPIO_PIN_6, GPIO_PIN_RESET);

  /*Configure GPIO pin Output Level */
  HAL_GPIO_WritePin(GPIOB, GPIO_PIN_13, GPIO_PIN_RESET);

  /*Configure GPIO pins : PC13 PC14 */
  GPIO_InitStruct.Pin = GPIO_PIN_13|GPIO_PIN_14;
  GPIO_InitStruct.Mode = GPIO_MODE_OUTPUT_PP;
  GPIO_InitStruct.Pull = GPIO_NOPULL;
  GPIO_InitStruct.Speed = GPIO_SPEED_FREQ_LOW;
  HAL_GPIO_Init(GPIOC, &GPIO_InitStruct);

  /*Configure GPIO pin : PA5 */
  GPIO_InitStruct.Pin = GPIO_PIN_5;
  GPIO_InitStruct.Mode = GPIO_MODE_OUTPUT_PP;
  GPIO_InitStruct.Pull = GPIO_NOPULL;
  GPIO_InitStruct.Speed = GPIO_SPEED_FREQ_LOW;
  HAL_GPIO_Init(GPIOA, &GPIO_InitStruct);

  /*Configure GPIO pin : PA6 */
  GPIO_InitStruct.Pin = GPIO_PIN_6;
  GPIO_InitStruct.Mode = GPIO_MODE_OUTPUT_PP;
  GPIO_InitStruct.Pull = GPIO_PULLDOWN;
  GPIO_InitStruct.Speed = GPIO_SPEED_FREQ_LOW;
  HAL_GPIO_Init(GPIOA, &GPIO_InitStruct);

  /*Configure GPIO pins : PB1 PB4 */
  GPIO_InitStruct.Pin = GPIO_PIN_1|GPIO_PIN_4;
  GPIO_InitStruct.Mode = GPIO_MODE_IT_RISING;
  GPIO_InitStruct.Pull = GPIO_NOPULL;
  HAL_GPIO_Init(GPIOB, &GPIO_InitStruct);

  /*Configure GPIO pins : PB2 PB14 PB5 */
  GPIO_InitStruct.Pin = GPIO_PIN_2|GPIO_PIN_14|GPIO_PIN_5;
  GPIO_InitStruct.Mode = GPIO_MODE_INPUT;
  GPIO_InitStruct.Pull = GPIO_NOPULL;
  HAL_GPIO_Init(GPIOB, &GPIO_InitStruct);

  /*Configure GPIO pin : PB13 */
  GPIO_InitStruct.Pin = GPIO_PIN_13;
  GPIO_InitStruct.Mode = GPIO_MODE_OUTPUT_PP;
  GPIO_InitStruct.Pull = GPIO_NOPULL;
  GPIO_InitStruct.Speed = GPIO_SPEED_FREQ_LOW;
  HAL_GPIO_Init(GPIOB, &GPIO_InitStruct);

  /* EXTI interrupt init*/
  HAL_NVIC_SetPriority(EXTI1_IRQn, 0, 0);
  HAL_NVIC_EnableIRQ(EXTI1_IRQn);

  HAL_NVIC_SetPriority(EXTI4_IRQn, 0, 0);
  HAL_NVIC_EnableIRQ(EXTI4_IRQn);

}

void Error_Handler(void)
{
}

/************************ (C) COPYRIGHT STMicroelectronics *****END OF FILE****/
